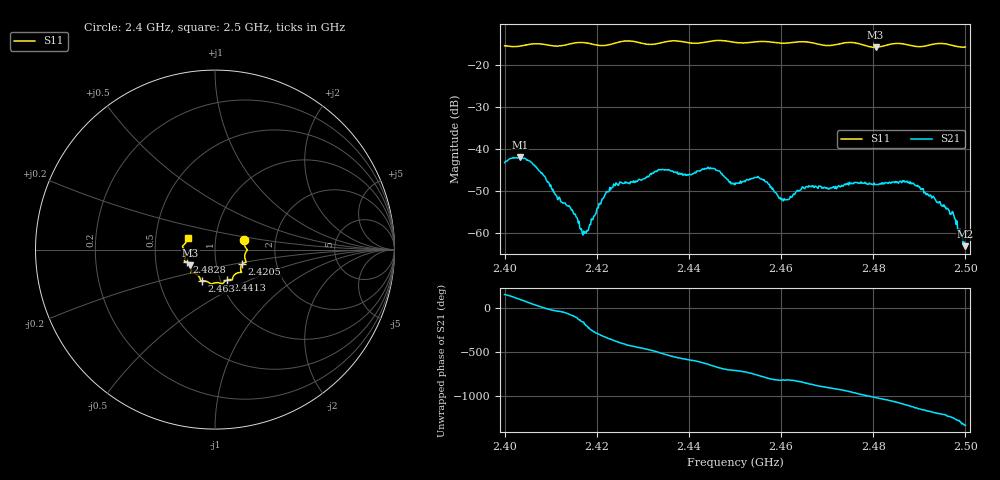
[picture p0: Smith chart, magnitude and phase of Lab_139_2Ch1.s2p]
# Hz S RI R 50
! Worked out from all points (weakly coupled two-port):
!   601 points, 2.4 GHz to 2.5 GHz, reference 50 ohm
!   highest |S21| = -41.93 dB at 2.4033 GHz (marker M1); lowest = -63.1 dB at 2.5 GHz (marker M2)
!   lowest |S11| = -15.7 dB at 2.4805 GHz (marker M3), VSWR 1.39, Z = 37.3 - j6.68 ohm
!   |S11| at or under -10 dB: start of sweep to end of sweep
!   S12 and S22 are empty: the file has one direction only
!   S11 on the Smith chart (normalised r, x): 2.4 GHz: 1.38, +0.15; 2.4205 GHz: 1.34, -0.22; 2.4413 GHz: 1.08, -0.38; 2.463 GHz: 0.82, -0.29; 2.4828 GHz: 0.72, -0.10; 2.5 GHz: 0.73, +0.10
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2.4e9  0.1628 0.0528  -0.0063 0.00284  0 0  0 0
2.403333e9  0.1683 0.0157  -0.00152 0.00786  0 0  0 0
2.408333e9  0.1783 -0.00435  0.00491 0.000694  0 0  0 0
2.416667e9  0.1736 -0.0697  -0.000963 -0.000588  0 0  0 0
2.417833e9  0.1701 -0.071  -0.000995 0.00041  0 0  0 0
2.4205e9  0.1521 -0.0809  0.001 0.00202  0 0  0 0
2.424e9  0.1439 -0.1145  0.0036 -0.000776  0 0  0 0
2.433333e9  0.1004 -0.1514  -0.00418 -0.00385  0 0  0 0
2.441333e9  0.0675 -0.1697  -0.00294 0.00441  0 0  0 0
2.445167e9  0.0432 -0.1903  0.00221 0.00544  0 0  0 0
2.45e9  0.0248 -0.1858  0.00368 0.000885  0 0  0 0
2.454833e9  -0.0155 -0.1902  0.00362 -0.00281  0 0  0 0
2.46e9  -0.0461 -0.1773  -0.000172 -0.00251  0 0  0 0
2.463e9  -0.0721 -0.1736  -0.000535 -0.00287  0 0  0 0
2.466667e9  -0.0815 -0.1672  -0.00284 -0.00215  0 0  0 0
2.4805e9  -0.1383 -0.087  0.00147 0.0035  0 0  0 0
2.482833e9  -0.1585 -0.0702  0.00297 0.00265  0 0  0 0
2.483333e9  -0.1623 -0.0683  0.00319 0.00227  0 0  0 0
2.4885e9  -0.1651 -0.0418  0.00311 -0.00234  0 0  0 0
2.495833e9  -0.1781 0.0221  -0.0014 -0.00133  0 0  0 0
2.497667e9  -0.1662 0.0345  -0.00148 -0.000153  0 0  0 0
2.5e9  -0.152 0.0641  -0.000246 0.000654  0 0  0 0
